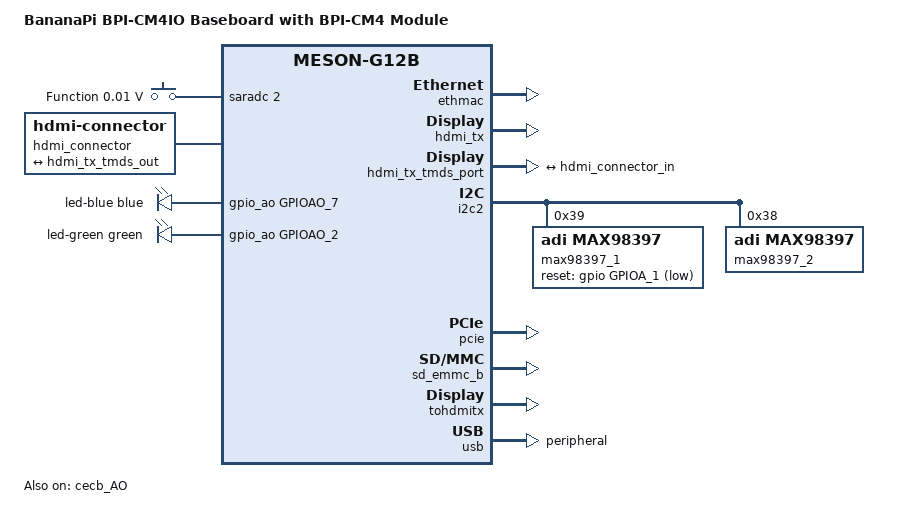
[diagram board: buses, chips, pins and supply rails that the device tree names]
// SPDX-License-Identifier: (GPL-2.0+ OR MIT)
/*
 * Copyright (c) 2023 Neil Armstrong <neil.armstrong@linaro.org>
 */

/dts-v1/;

#include "meson-g12b-bananapi-cm4.dtsi"
#include <dt-bindings/input/input.h>
#include <dt-bindings/leds/common.h>
#include <dt-bindings/sound/meson-g12a-tohdmitx.h>

/ {
	compatible = "bananapi,bpi-cm4io", "bananapi,bpi-cm4", "amlogic,a311d", "amlogic,g12b";
	model = "BananaPi BPI-CM4IO Baseboard with BPI-CM4 Module";

	aliases {
		ethernet0 = &ethmac;
		i2c0 = &i2c1;
		i2c1 = &i2c3;
	};

	adc-keys {
		compatible = "adc-keys";
		io-channels = <&saradc 2>;
		io-channel-names = "buttons";
		keyup-threshold-microvolt = <1710000>;

		button-function {
			label = "Function";
			linux,code = <KEY_FN>;
			press-threshold-microvolt = <10000>;
		};
	};

	hdmi_connector: hdmi-connector {
		compatible = "hdmi-connector";
		type = "a";

		port {
			hdmi_connector_in: endpoint {
				remote-endpoint = <&hdmi_tx_tmds_out>;
			};
		};
	};

	leds {
		compatible = "gpio-leds";

		led-blue {
			color = <LED_COLOR_ID_BLUE>;
			function = LED_FUNCTION_STATUS;
			gpios = <&gpio_ao GPIOAO_7 GPIO_ACTIVE_HIGH>;
			linux,default-trigger = "heartbeat";
		};

		led-green {
			color = <LED_COLOR_ID_GREEN>;
			function = LED_FUNCTION_STATUS;
			gpios = <&gpio_ao GPIOAO_2 GPIO_ACTIVE_HIGH>;
		};
	};

	sound {
		compatible = "amlogic,axg-sound-card";
		model = "BPI-CM4IO";
		audio-aux-devs = <&tdmout_a>, <&tdmin_a>;
		audio-routing = "TDMOUT_A IN 0", "FRDDR_A OUT 0",
				"TDM_A Playback", "TDMOUT_A OUT",
				"TDMIN_A IN 0", "TDM_A Capture",
				"TODDR_A IN 0", "TDMIN_A OUT";

		clocks = <&clkc CLKID_HIFI_PLL>,
			 <&clkc CLKID_MPLL0>,
			 <&clkc CLKID_MPLL1>;

		assigned-clocks = <&clkc CLKID_HIFI_PLL>,
				  <&clkc CLKID_MPLL0>,
				  <&clkc CLKID_MPLL1>;
		assigned-clock-parents = <0>, <0>, <0>;
		assigned-clock-rates = <589824000>,
				       <270950400>,
				       <393216000>;

		dai-link-0 {
			sound-dai = <&frddr_a>;
		};

		/* Capture: the amps' DOUT telemetry (voltage/current sense,
		 * supply rail and die temperature) comes back over TDM_A. */
		dai-link-1 {
			sound-dai = <&toddr_a>;
		};

		dai-link-2 {
    		sound-dai = <&tdmif_a>;
    		dai-format = "dsp_a";
			dai-slot-num = <8>;
			dai-tdm-slot-tx-mask-0 = <1 1 1 1 1 1 1 1>;
			/*
			 * Capture only needs the four 32-bit slots the two amps
			 * are told to transmit on below: slot 0 = amp1 V|I,
			 * 1 = amp2 V|I, 2 = amp1 PVDD|TEMP, 3 = amp2 PVDD|TEMP.
			 *
			 * The mask suffix is the TDM LANE, and the amps' DOUT
			 * lands on lane 1 (tdm_a_din1 = GPIOX_8), so this is
			 * -1 while playback stays on lane 0 (dout0 = GPIOX_9).
			 */
			dai-tdm-slot-rx-mask-1 = <1 1 1 1 0 0 0 0>;
			dai-tdm-slot-width = <32>;	
			codec-0 {
				sound-dai = <&max98397_1>;
			};
			codec-1 {
				sound-dai = <&max98397_2>;
			};
		};
};

/* dummy_codec1: dummy_codec_am {
	#sound-dai-cells = <0>;
	compatible = "custom,dummy-codec-am";
	status = "okay";
	}; */

};

&cecb_AO {
	status = "okay";
};

&ethmac {
	status = "okay";
};

&hdmi_tx {
	status = "okay";
};

&hdmi_tx_tmds_port {
	hdmi_tx_tmds_out: endpoint {
		remote-endpoint = <&hdmi_connector_in>;
	};
};

/* CSI port */
/* &i2c1 {
	status = "okay";
}; */

/* DSI port for touchscreen */
/* &i2c3 {
	status = "okay";
}; */

&i2c2 {
	pinctrl-0 = <&i2c2_sda_x_pins>, <&i2c2_sck_x_pins>;
	pinctrl-names = "default";
	status = "okay";
    /*
     * Telemetry slot plan.  The amps number their transmit slots in 8-bit
     * units (0..63 on a '97), while the TDM frame here is 8 x 32 bits -- so
     * TDM slot n covers amp slots 4n..4n+3, and a 16-bit datum at amp slot
     * 4n lands in the top half of TDM slot n.  Each amp gets one TDM slot
     * for V|I and one for PVDD|TEMP; they share DOUT and arbitrate by Hi-Z,
     * so the two amps must never name the same slot.
     *
     *   amp slot  0 /  2  -> TDM slot 0: amp1 VMON | amp1 IMON
     *   amp slot  4 /  6  -> TDM slot 1: amp2 VMON | amp2 IMON
     *   amp slot  8 / 10  -> TDM slot 2: amp1 PVDD | amp1 TEMP
     *   amp slot 12 / 14  -> TDM slot 3: amp2 PVDD | amp2 TEMP
     *
     * adi,telemetry-enable is what actually lets the amp drive those slots;
     * without it the driver leaves DOUT entirely Hi-Z.
     */
    max98397_1: amplifier@39 {
		#sound-dai-cells = <0>;
		compatible = "adi,max98397";
        reg = <0x39>;
        reset-gpios = <&gpio GPIOA_1 GPIO_ACTIVE_LOW>;
		sound-name-prefix = "amp1";
		adi,bypass-slot-no = <0>;
		adi,telemetry-enable;
		adi,vmon-slot-no = <0>;
		adi,imon-slot-no = <2>;
		adi,supply1-slot-no = <8>;
		adi,therm-slot-no = <10>;
		adi,supply-select = <0>;	/* PVDD */
		};
	max98397_2: amplifier@38 {
		#sound-dai-cells = <0>;
		compatible = "adi,max98397";
        reg = <0x38>;
		sound-name-prefix = "amp2";
		adi,bypass-slot-no = <1>;
		adi,telemetry-enable;
		adi,vmon-slot-no = <4>;
		adi,imon-slot-no = <6>;
		adi,supply1-slot-no = <12>;
		adi,therm-slot-no = <14>;
		adi,supply-select = <0>;	/* PVDD */
		};
    };

/* miniPCIe port with USB + SIM slot */
&pcie {
	status = "okay";
};

&sd_emmc_b {
	status = "okay";
};

&tohdmitx {
	status = "okay";
};

/* Peripheral Only USB-C port */
&usb {
	dr_mode = "peripheral";

	status = "okay";
};
